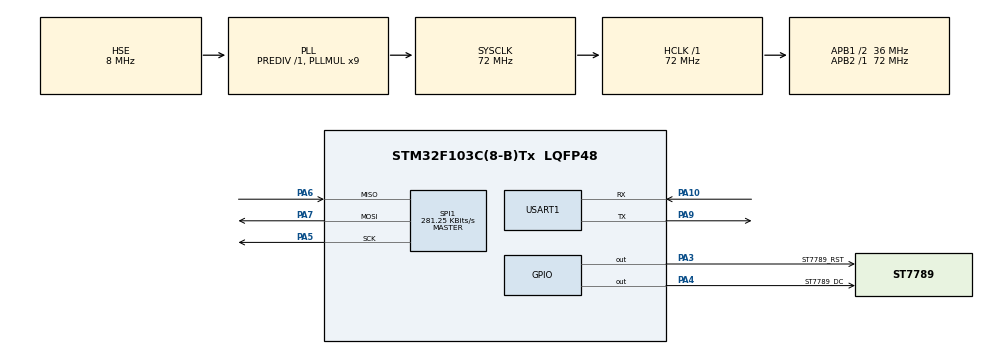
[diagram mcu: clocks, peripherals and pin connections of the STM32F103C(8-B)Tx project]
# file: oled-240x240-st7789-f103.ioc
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Dma.Request0=SPI1_TX
Dma.SPI1_TX.0.Direction=DMA_MEMORY_TO_PERIPH
Dma.SPI1_TX.0.Instance=DMA1_Channel3
Dma.SPI1_TX.0.MemDataAlignment=DMA_MDATAALIGN_BYTE
Dma.SPI1_TX.0.MemInc=DMA_MINC_ENABLE
Dma.SPI1_TX.0.Mode=DMA_NORMAL
Dma.SPI1_TX.0.PeriphDataAlignment=DMA_PDATAALIGN_BYTE
Dma.SPI1_TX.0.PeriphInc=DMA_PINC_DISABLE
Dma.SPI1_TX.0.Priority=DMA_PRIORITY_LOW
Mcu.Family=STM32F1
Mcu.Name=STM32F103C(8-B)Tx
Mcu.Package=LQFP48
NVIC.DMA1_Channel3_IRQn=true\:0\:0\:false\:false\:true\:false\:true\:true
NVIC.PriorityGroup=NVIC_PRIORITYGROUP_4
PA10.Mode=Asynchronous
PA10.Signal=USART1_RX
PA13.Mode=Serial_Wire
PA13.Signal=SYS_JTMS-SWDIO
PA14.Mode=Serial_Wire
PA14.Signal=SYS_JTCK-SWCLK
PA3.GPIO_Label=ST7789_RST
PA3.Signal=GPIO_Output
PA4.GPIO_Label=ST7789_DC
PA4.Signal=GPIO_Output
PA5.Mode=Full_Duplex_Master
PA5.Signal=SPI1_SCK
PA6.Mode=Full_Duplex_Master
PA6.Signal=SPI1_MISO
PA7.Mode=Full_Duplex_Master
PA7.Signal=SPI1_MOSI
PA9.Mode=Asynchronous
PA9.Signal=USART1_TX
PD0-OSC_IN.Mode=HSE-External-Oscillator
PD0-OSC_IN.Signal=RCC_OSC_IN
PD1-OSC_OUT.Mode=HSE-External-Oscillator
PD1-OSC_OUT.Signal=RCC_OSC_OUT
ProjectManager.HeapSize=0x200
ProjectManager.StackSize=0x400
ProjectManager.TargetToolchain=STM32CubeIDE
RCC.AHBFreq_Value=72000000
RCC.APB1CLKDivider=RCC_HCLK_DIV2
RCC.APB1Freq_Value=36000000
RCC.APB1TimFreq_Value=72000000
RCC.APB2Freq_Value=72000000
RCC.APB2TimFreq_Value=72000000
RCC.HCLKFreq_Value=72000000
RCC.PLLMUL=RCC_PLL_MUL9
RCC.PLLSourceVirtual=RCC_PLLSOURCE_HSE
RCC.SYSCLKFreq_VALUE=72000000
RCC.SYSCLKSource=RCC_SYSCLKSOURCE_PLLCLK
RCC.USBFreq_Value=72000000
SPI1.BaudRatePrescaler=SPI_BAUDRATEPRESCALER_256
SPI1.CalculateBaudRate=281.25 KBits/s
SPI1.Direction=SPI_DIRECTION_2LINES
SPI1.Mode=SPI_MODE_MASTER
SPI1.VirtualType=VM_MASTER
USART1.VirtualMode=VM_ASYNC
board=custom

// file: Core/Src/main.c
/* USER CODE BEGIN Header */
/**
  ******************************************************************************
  * @file           : main.c
  * @brief          : Main program body
  ******************************************************************************
  * @attention
  *
  * Copyright (c) 2023 STMicroelectronics.
  * All rights reserved.
  *
  * This software is licensed under terms that can be found in the LICENSE file
  * in the root directory of this software component.
  * If no LICENSE file comes with this software, it is provided AS-IS.
  *
  ******************************************************************************
  */
/* USER CODE END Header */
#include "main.h"
#include "dma.h"
#include "spi.h"
#include "usart.h"
#include "gpio.h"

/* USER CODE BEGIN Includes */
	#include "stdio.h"
	#include <string.h>
	#include "st7789.h"
/* USER CODE END Includes */

/* USER CODE BEGIN PD */
	#define 	UART_DEBUG 			&huart1
/* USER CODE END PD */

/* USER CODE BEGIN PV */
	char 		DataChar[0xFF] = {0};
	int 		counter 		= 0	;
/* USER CODE END PV */

void SystemClock_Config(void);
/* USER CODE BEGIN PFP */
void UartDebug(char* _text) ;
/* USER CODE END PFP */

int main(void)
{

  /* MCU Configuration--------------------------------------------------------*/

  /* Reset of all peripherals, Initializes the Flash interface and the Systick. */
  HAL_Init();

  /* Configure the system clock */
  SystemClock_Config();

  /* Initialize all configured peripherals */
  MX_GPIO_Init();
  MX_DMA_Init();
  MX_SPI1_Init();
  MX_USART1_UART_Init();
  /* USER CODE BEGIN 2 */
	#define SOFT_VERSION	333
	int soft_version_arr_int[3];
	soft_version_arr_int[0] = ((SOFT_VERSION) / 100) ;
	soft_version_arr_int[1] = ((SOFT_VERSION) /   10) %10 ;
	soft_version_arr_int[2] = ((SOFT_VERSION)       ) %10 ;

	sprintf(DataChar,"\r\n\r\n\t OLED 240x240 v%d.%d.%d " ,
			soft_version_arr_int[0] , soft_version_arr_int[1] , soft_version_arr_int[2] );
	UartDebug(DataChar);

	#define 	DATE_as_int_str 	(__DATE__)
	#define 	TIME_as_int_str 	(__TIME__)
	sprintf(DataChar,"\r\n\tBuild: %s. Time: %s.\r\n" , DATE_as_int_str , TIME_as_int_str ) ;
	UartDebug(DataChar);
	//HAL_Delay(500);
	ST7789_Init();

		//#define WHITE       0xFFFF
		//#define BLACK       0x0000
		//#define BLUE        0x001F
		//#define RED         0xF800
		//#define MAGENTA     0xF81F
		//#define GREEN       0x07E0
		//#define CYAN        0x7FFF
		//#define YELLOW      0xFFE0
		//#define GRAY        0X8430
		//#define BRED        0XF81F
		//#define GRED        0XFFE0
		//#define GBLUE       0X07FF
		//#define BROWN       0XBC40
		//#define BRRED       0XFC07
		//#define DARKBLUE    0X01CF
		//#define LIGHTBLUE   0X7D7C
		//#define GRAYBLUE    0X5458
		//
		//#define LIGHTGREEN  0X841F
		//#define LGRAY       0XC618
		//#define LGRAYBLUE   0XA651
		//#define LBBLUE      0X2B12

	sprintf(DataChar,"End INIT\r\n" );	UartDebug(DataChar);
	//ST7789_Test();
	//ST7789_WriteString(10, 10, "Font test.", Font_16x26, GBLUE, WHITE);
	ST7789_WriteString(10, 10, "Font test.", Font_16x26, GREEN, BLACK);

	ST7789_DrawFilledRectangle(20, 50, 200, 120, BROWN);
  /* USER CODE END 2 */

  /* Infinite loop */
  /* USER CODE BEGIN WHILE */
  while (1)
  {
		sprintf(DataChar,"%02d ", counter++ ) ;
		UartDebug(DataChar);
		//ST7735_WriteString(10, 85, DataChar, Font_16x26 , ST7735_YELLOW, ST7735_BLUE);
		ST7789_WriteString(20, 180, DataChar, Font_16x26, GREEN, BLACK);
		HAL_Delay(1000);
    /* USER CODE END WHILE */

  }
}

void SystemClock_Config(void)
{
  RCC_OscInitTypeDef RCC_OscInitStruct = {0};
  RCC_ClkInitTypeDef RCC_ClkInitStruct = {0};

  /** Initializes the RCC Oscillators according to the specified parameters
  * in the RCC_OscInitTypeDef structure.
  */
  RCC_OscInitStruct.OscillatorType = RCC_OSCILLATORTYPE_HSE;
  RCC_OscInitStruct.HSEState = RCC_HSE_ON;
  RCC_OscInitStruct.HSEPredivValue = RCC_HSE_PREDIV_DIV1;
  RCC_OscInitStruct.HSIState = RCC_HSI_ON;
  RCC_OscInitStruct.PLL.PLLState = RCC_PLL_ON;
  RCC_OscInitStruct.PLL.PLLSource = RCC_PLLSOURCE_HSE;
  RCC_OscInitStruct.PLL.PLLMUL = RCC_PLL_MUL9;
  if (HAL_RCC_OscConfig(&RCC_OscInitStruct) != HAL_OK)
  {
    Error_Handler();
  }

  /** Initializes the CPU, AHB and APB buses clocks
  */
  RCC_ClkInitStruct.ClockType = RCC_CLOCKTYPE_HCLK|RCC_CLOCKTYPE_SYSCLK
                              |RCC_CLOCKTYPE_PCLK1|RCC_CLOCKTYPE_PCLK2;
  RCC_ClkInitStruct.SYSCLKSource = RCC_SYSCLKSOURCE_PLLCLK;
  RCC_ClkInitStruct.AHBCLKDivider = RCC_SYSCLK_DIV1;
  RCC_ClkInitStruct.APB1CLKDivider = RCC_HCLK_DIV2;
  RCC_ClkInitStruct.APB2CLKDivider = RCC_HCLK_DIV1;

  if (HAL_RCC_ClockConfig(&RCC_ClkInitStruct, FLASH_LATENCY_2) != HAL_OK)
  {
    Error_Handler();
  }
}

/* USER CODE BEGIN 4 */
void UartDebug(char* _text) {
	HAL_UART_Transmit(UART_DEBUG, (uint8_t*)_text, strlen(_text), 100);
} //**************************************************************************
/* USER CODE END 4 */

void Error_Handler(void)
{
  __disable_irq();
  while (1)
  {
  }
}
